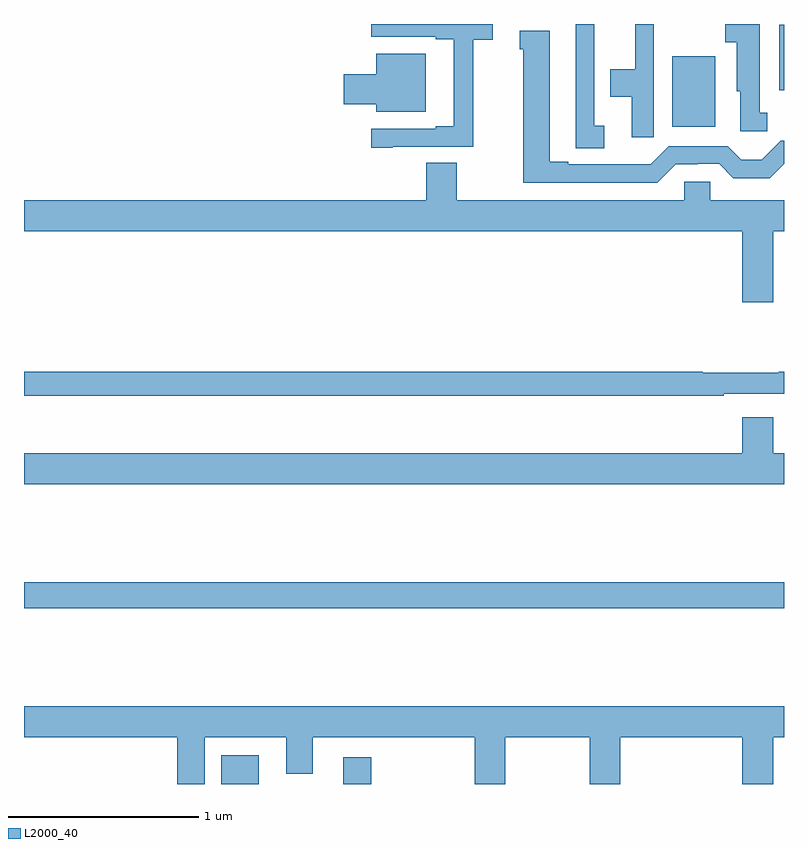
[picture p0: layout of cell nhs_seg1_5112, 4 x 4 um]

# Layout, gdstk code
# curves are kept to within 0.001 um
import gdstk
lib = gdstk.Library(unit=1e-6, precision=1e-09)
def R(c, l, rs):  # rectangles x0, y0, x1, y1
    for r in rs: c.add(gdstk.rectangle(r[:2], r[2:], *l))
def P(c, l, *ps):  # polygons
    for p in ps: c.add(gdstk.Polygon(p, *l))
L2000_40 = (2000, 40)

nhs_seg1_5112 = lib.new_cell('nhs_seg1_5112')
R(nhs_seg1_5112, L2000_40, [(390.039,506.199,390.235,506.35), (390.68,506.199,390.827,506.341), (389,507.124,393,507.26), (392.411,509.657,392.638,510.028), (392.976,509.85,393,510.196)])
P(nhs_seg1_5112, L2000_40, [(392.314,510.199),(392.216,510.199),(392.216,509.962),(392.086,509.962),(392.086,509.815),(392.198,509.815),(392.198,509.604),(392.314,509.604)],
  [(392.053,509.664),(392.001,509.664),(392.001,510.199),(391.904,510.199),(391.904,509.653),(391.905,509.653),(391.905,509.545),(392.053,509.545)],
  [(390.94,509.553),(391.364,509.553),(391.364,510.116),(391.468,510.116),(391.468,510.199),(390.828,510.199),(390.828,510.132),(391.166,510.132),(391.166,510.12),(391.262,510.12),(391.262,509.662),(391.166,509.662),(391.166,509.649),(390.828,509.649),(390.828,509.548),(390.94,509.548)],
  [(392.913,509.733),(392.872,509.733),(392.872,510.199),(392.69,510.199),(392.69,510.104),(392.75,510.104),(392.75,509.844),(392.771,509.844),(392.771,509.634),(392.913,509.634)],
  [(392.43,509.46),(392.546,509.46),(392.546,509.463),(392.658,509.463),(392.734,509.387),(392.924,509.387),(393,509.463),(393,509.585),(392.984,509.585),(392.884,509.485),(392.774,509.485),(392.703,509.556),(392.394,509.556),(392.299,509.461),(391.864,509.46),(391.864,509.475),(391.768,509.475),(391.767,510.164),(391.61,510.164),(391.61,510.066),(391.628,510.066),(391.628,509.364),(392.334,509.364)],
  [(391.114,510.043),(390.854,510.043),(390.854,509.935),(390.684,509.935),(390.684,509.777),(390.854,509.777),(390.854,509.738),(391.114,509.738)],
  [(392.944,509.108),(393,509.108),(393,509.272),(392.613,509.272),(392.613,509.37),(392.475,509.37),(392.475,509.272),(391.278,509.272),(391.278,509.468),(391.118,509.468),(391.118,509.272),(389,509.272),(389,509.108),(392.78,509.108),(392.78,508.734),(392.944,508.734)],
  [(392.684,508.254),(393,508.254),(393,508.37),(392.972,508.37),(392.972,508.363),(392.572,508.363),(392.572,508.37),(389,508.37),(389,508.242),(392.684,508.242)],
  [(393,507.94),(392.944,507.94),(392.944,508.129),(392.78,508.129),(392.78,507.94),(389,507.94),(389,507.776),(393,507.776)],
  [(389.95,506.444),(390.38,506.444),(390.38,506.254),(390.52,506.254),(390.52,506.444),(391.373,506.444),(391.373,506.199),(391.533,506.199),(391.533,506.444),(391.978,506.444),(391.978,506.199),(392.138,506.199),(392.138,506.444),(392.78,506.444),(392.78,506.199),(392.944,506.199),(392.944,506.444),(393,506.444),(393,506.608),(389,506.608),(389,506.444),(389.807,506.444),(389.807,506.199),(389.95,506.199)])

lib.write_gds('nhs_seg1_5112.gds')
